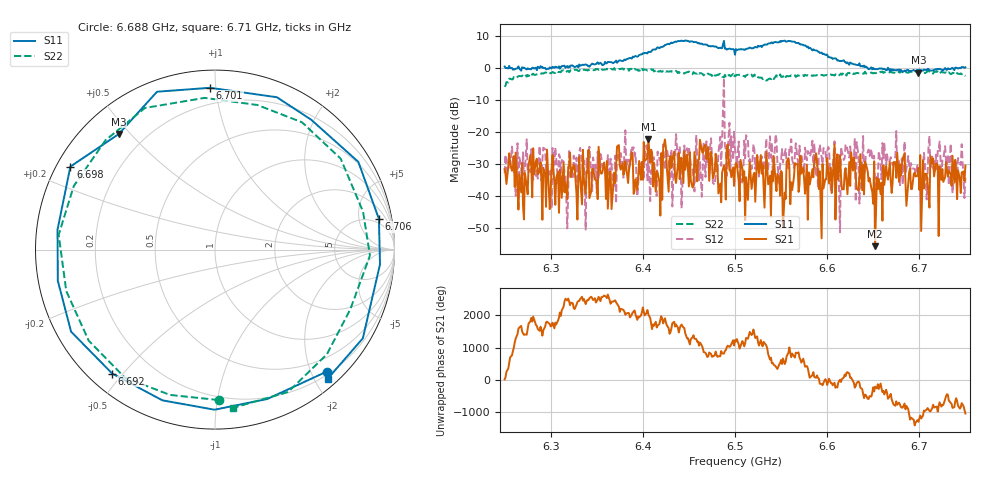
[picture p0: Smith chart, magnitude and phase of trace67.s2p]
# Hz S RI R 50
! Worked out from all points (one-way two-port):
!   401 points, 6.25 GHz to 6.75 GHz, reference 50 ohm
!   highest |S21| = -22.26 dB at 6.406 GHz (marker M1); lowest = -55.7 dB at 6.652 GHz (marker M2)
!   lowest |S11| = -1.5 dB at 6.699 GHz (marker M3), VSWR 11.35, Z = 5.36 + j23.2 ohm
!   |S11| at or under -10 dB: nowhere
!   |S22| runs from -5.9 to -0.1 dB; largest |S21 - S12| = 0.68
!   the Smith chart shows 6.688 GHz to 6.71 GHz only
!   S11 on the Smith chart (normalised r, x): 6.688 GHz: 0.25, -2.25; 6.692 GHz: 0.07, -0.47; 6.698 GHz: 0.04, +0.27; 6.701 GHz: 0.10, +0.96; 6.706 GHz: 4, +9; 6.71 GHz: 0.14, -2.20
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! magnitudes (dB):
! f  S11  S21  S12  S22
! 6.25 GHz  0.4  -31.7  -33.0  -5.9
! 6.334 GHz  0.9  -42.7  -29.9  -1.0
! 6.365 GHz  1.8  -32.4  -28.4  -0.4
! 6.375 GHz  2.3  -30.7  -30.5  -0.4
! 6.392 GHz  3.7  -34.8  -26.7  -0.5
! 6.406 GHz  5.0  -22.3  -25.9  -0.7
! 6.418 GHz  6.1  -35.7  -28.5  -1.2
! 6.465 GHz  7.3  -26.6  -32.2  -2.0
! 6.479 GHz  6.7  -26.9  -33.3  -2.4
! 6.486 GHz  6.1  -32.7  -22.5  -2.8
! 6.5 GHz  4.1  -31.5  -25.3  -2.3
! 6.584 GHz  5.4  -31.7  -22.8  -2.5
! 6.652 GHz  -0.4  -55.7  -40.9  -1.7
! 6.668 GHz  -1.0  -29.5  -29.1  -1.5
! 6.688 GHz  -0.7  -36.0  -27.6  -1.5
! 6.692 GHz  -0.9  -37.9  -31.5  -1.3
! 6.698 GHz  -0.6  -33.7  -30.4  -1.1
! 6.699 GHz  -1.5  -31.3  -34.0  -1.4
! 6.701 GHz  -0.9  -27.3  -33.2  -1.3
! 6.706 GHz  -0.6  -33.1  -30.0  -1.7
! 6.71 GHz  -0.4  -39.0  -24.5  -1.0
! 6.75 GHz  0.1  -30.6  -34.3  -2.6
